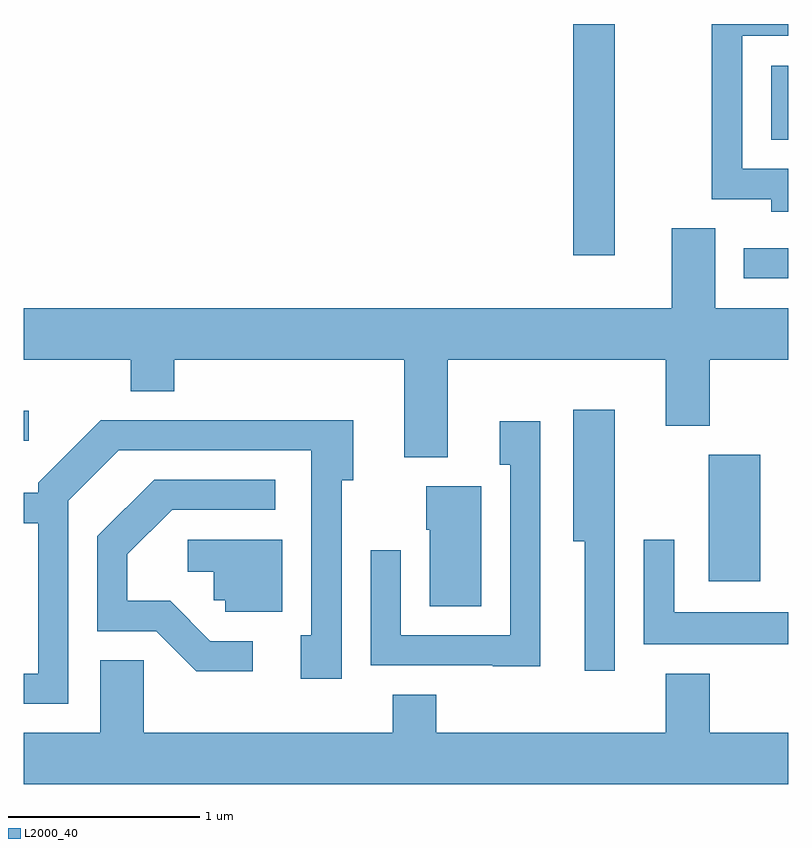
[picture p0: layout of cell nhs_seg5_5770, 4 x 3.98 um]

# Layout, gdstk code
import gdstk
lib = gdstk.Library(unit=1e-6, precision=1e-09)
def R(c, l, rs):  # rectangles x0, y0, x1, y1
    for r in rs: c.add(gdstk.rectangle(r[:2], r[2:], *l))
def P(c, l, *ps):  # polygons
    for p in ps: c.add(gdstk.Polygon(p, *l))
L2000_40 = (2000, 40)

nhs_seg5_5770 = lib.new_cell('nhs_seg5_5770')
R(nhs_seg5_5770, L2000_40, [(359.196,1491.156,359.464,1491.819), (355.611,1491.891,355.638,1492.049), (359.378,1492.741,359.611,1492.899), (358.486,1492.861,358.704,1494.072), (359.521,1493.466,359.611,1493.854)])
P(nhs_seg5_5770, L2000_40, [(359.611,1493.314),(359.369,1493.314),(359.369,1494.011),(359.611,1494.011),(359.611,1494.072),(359.211,1494.072),(359.211,1493.156),(359.521,1493.156),(359.521,1493.091),(359.611,1493.091)],
  [(357.829,1492.316),(358.971,1492.316),(358.971,1491.971),(359.199,1491.971),(359.199,1492.316),(359.611,1492.316),(359.611,1492.584),(359.229,1492.584),(359.229,1493.004),(359.001,1493.004),(359.001,1492.584),(355.611,1492.584),(355.611,1492.316),(356.171,1492.316),(356.171,1492.151),(356.399,1492.151),(356.399,1492.316),(357.601,1492.316),(357.601,1491.806),(357.829,1491.806)],
  [(358.704,1492.054),(358.486,1492.054),(358.486,1491.366),(358.546,1491.366),(358.546,1490.688),(358.704,1490.688)],
  [(355.844,1491.579),(356.107,1491.841),(357.116,1491.841),(357.116,1490.874),(357.061,1490.874),(357.061,1490.646),(357.274,1490.646),(357.274,1491.686),(357.334,1491.686),(357.334,1491.999),(356.014,1491.999),(355.686,1491.672),(355.686,1491.619),(355.611,1491.619),(355.611,1491.461),(355.686,1491.461),(355.686,1490.674),(355.611,1490.674),(355.611,1490.516),(355.844,1490.516)],
  [(358.314,1491.994),(358.101,1491.994),(358.101,1491.766),(358.156,1491.766),(358.156,1490.874),(357.584,1490.874),(357.584,1491.318),(357.426,1491.318),(357.426,1490.716),(358.065,1490.716),(358.065,1490.711),(358.314,1490.711)],
  [(356.808,1490.844),(356.587,1490.844),(356.377,1491.054),(356.154,1491.054),(356.154,1491.299),(356.387,1491.531),(356.928,1491.531),(356.928,1491.689),(356.294,1491.689),(355.996,1491.392),(355.996,1490.896),(356.304,1490.896),(356.514,1490.686),(356.808,1490.686)],
  [(358.004,1491.654),(357.716,1491.654),(357.716,1491.426),(357.736,1491.426),(357.736,1491.026),(358.004,1491.026)],
  [(356.964,1491.374),(356.468,1491.374),(356.468,1491.206),(356.606,1491.206),(356.606,1491.056),(356.666,1491.056),(356.666,1490.996),(356.964,1490.996)],
  [(359.611,1490.994),(359.014,1490.994),(359.014,1491.373),(358.856,1491.373),(358.856,1490.826),(359.611,1490.826)],
  [(359.611,1490.364),(359.199,1490.364),(359.199,1490.674),(358.971,1490.674),(358.971,1490.364),(357.769,1490.364),(357.769,1490.564),(357.541,1490.564),(357.541,1490.364),(356.239,1490.364),(356.239,1490.744),(356.011,1490.744),(356.011,1490.364),(355.611,1490.364),(355.611,1490.096),(359.611,1490.096)])

lib.write_gds('nhs_seg5_5770.gds')
